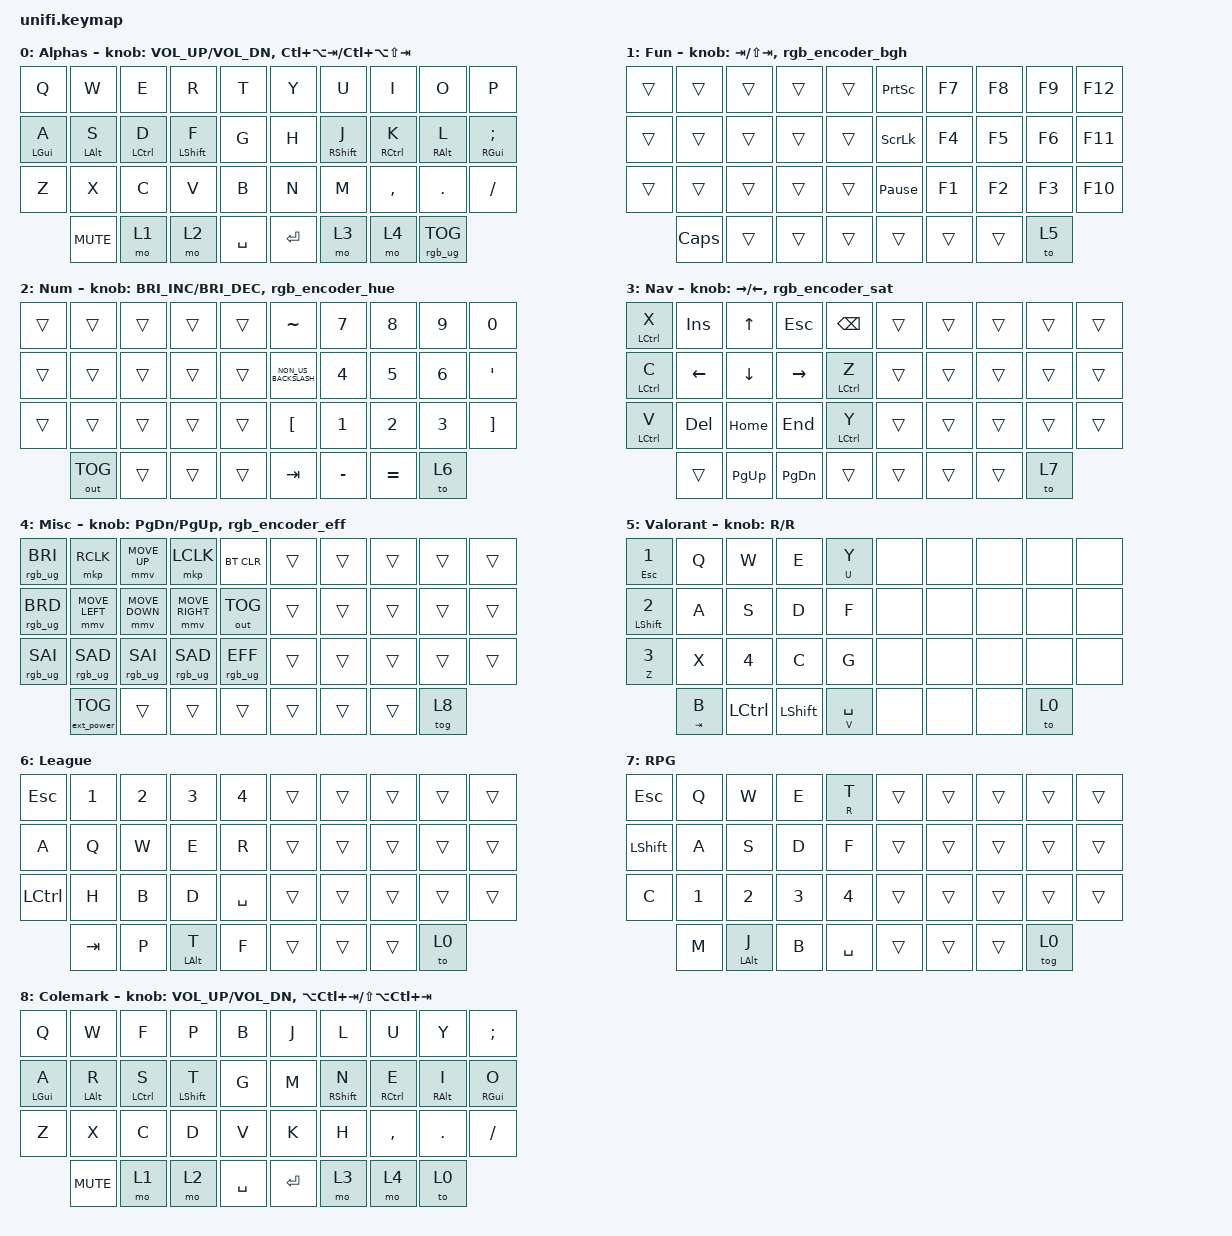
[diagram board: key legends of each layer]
/*
 * Copyright (c) 2020 The ZMK Contributors
 *
 * SPDX-License-Identifier: MIT
 */

#include <behaviors.dtsi>
#include <dt-bindings/zmk/bt.h>
#include <dt-bindings/zmk/ext_power.h>
#include <dt-bindings/zmk/keys.h>
#include <dt-bindings/zmk/mouse.h>
#include <dt-bindings/zmk/outputs.h>
#include <dt-bindings/zmk/rgb.h>

/ {
    behaviors {
        hrm_left: hrm_left {
            compatible = "zmk,behavior-hold-tap";
            bindings = <&kp>, <&kp>;

            #binding-cells = <2>;
            tapping-term-ms = <400>;
            quick-tap-ms = <200>;
            flavor = "tap-preferred";
            hold-trigger-key-positions = <5 6 7 8 9 15 16 17 18 19 25 26 27 28 29 34 35 36 37>;
        };

        rgb_encoder_hue: rgb_encoder_hue {
            compatible = "zmk,behavior-sensor-rotate";
            #sensor-binding-cells = <0>;
            bindings = <&rgb_ug RGB_HUI>, <&rgb_ug RGB_BRD>;
        };

        rgb_encoder_eff: rgb_encoder_eff {
            compatible = "zmk,behavior-sensor-rotate";
            #sensor-binding-cells = <0>;
            bindings = <&rgb_ug RGB_EFF>, <&rgb_ug RGB_EFR>;
        };

        rgb_encoder_bgh: rgb_encoder_bgh {
            compatible = "zmk,behavior-sensor-rotate";
            #sensor-binding-cells = <0>;
            bindings = <&rgb_ug RGB_BRI>, <&rgb_ug RGB_BRD>;
        };

        rgb_encoder_sat: rgb_encoder_sat {
            compatible = "zmk,behavior-sensor-rotate";
            #sensor-binding-cells = <0>;
            bindings = <&rgb_ug RGB_SAI>, <&rgb_ug RGB_SAD>;
        };

        hrm_right: hrm_right {
            compatible = "zmk,behavior-hold-tap";
            bindings = <&kp>, <&kp>;

            #binding-cells = <2>;
            tapping-term-ms = <400>;
            quick-tap-ms = <200>;
            flavor = "tap-preferred";
            hold-trigger-key-positions = <0 1 2 3 4 10 11 12 13 14 20 21 22 23 24 30 31 32 33>;
        };
    };

    keymap {
        compatible = "zmk,keymap";

        Alphas {
            bindings = <
&kp Q             &kp W                 &kp E              &kp R                   &kp T        &kp Y      &kp U                     &kp I               &kp O                   &kp P
&hrm_left LGUI A  &hrm_left LEFT_ALT S  &hrm_left LCTRL D  &hrm_left LEFT_SHIFT F  &kp G        &kp H      &hrm_right RIGHT_SHIFT J  &hrm_right RCTRL K  &hrm_right RIGHT_ALT L  &hrm_right RIGHT_GUI SEMI
&kp Z             &kp X                 &kp C              &kp V                   &kp B        &kp N      &kp M                     &kp COMMA           &kp DOT                 &kp FSLH
                  &kp K_MUTE            &mo 1              &mo 2                   &kp SPACE    &kp ENTER  &mo 3                     &mo 4               &rgb_ug RGB_TOG
            >;

            sensor-bindings =
                <&inc_dec_kp C_VOL_UP C_VOL_DN>,
                <&inc_dec_kp LC(LA(TAB)) LC(LA(LS(TAB)))>;
        };

        Fun {
            bindings = <
&trans  &trans        &trans  &trans  &trans    &kp PRINTSCREEN  &kp F7  &kp F8  &kp F9  &kp F12
&trans  &trans        &trans  &trans  &trans    &kp SCROLLLOCK   &kp F4  &kp F5  &kp F6  &kp F11
&trans  &trans        &trans  &trans  &trans    &kp PAUSE_BREAK  &kp F1  &kp F2  &kp F3  &kp F10
        &kp CAPSLOCK  &trans  &trans  &trans    &trans           &trans  &trans  &to 5
            >;

            sensor-bindings = <&inc_dec_kp TAB LS(TAB)>, <&rgb_encoder_bgh>;
        };

        Num {
            bindings = <
&trans  &trans        &trans  &trans  &trans    &kp TILDE             &kp N7        &kp N8        &kp N9        &kp N0
&trans  &trans        &trans  &trans  &trans    &kp NON_US_BACKSLASH  &kp NUMBER_4  &kp N5        &kp NUMBER_6  &kp SQT
&trans  &trans        &trans  &trans  &trans    &kp LEFT_BRACKET      &kp NUMBER_1  &kp NUMBER_2  &kp NUMBER_3  &kp RIGHT_BRACKET
        &out OUT_TOG  &trans  &trans  &trans    &kp TAB               &kp MINUS     &kp EQUAL     &to 6
            >;

            sensor-bindings =
                <&inc_dec_kp C_BRIGHTNESS_INC C_BRIGHTNESS_DEC>,
                <&rgb_encoder_hue>;
        };

        Nav {
            bindings = <
&mt LCTRL X  &kp INSERT      &kp UP_ARROW    &kp ESCAPE       &kp BACKSPACE    &trans  &trans  &trans  &trans  &trans
&mt LCTRL C  &kp LEFT_ARROW  &kp DOWN_ARROW  &kp RIGHT_ARROW  &mt LCTRL Z      &trans  &trans  &trans  &trans  &trans
&mt LCTRL V  &kp DELETE      &kp HOME        &kp END          &mt LCTRL Y      &trans  &trans  &trans  &trans  &trans
             &trans          &kp PAGE_UP     &kp PAGE_DOWN    &trans           &trans  &trans  &trans  &to 7
            >;

            sensor-bindings =
                <&inc_dec_kp RIGHT_ARROW LEFT_ARROW>,
                <&rgb_encoder_sat>;
        };

        Misc {
            bindings = <
&rgb_ug RGB_BRI  &mkp RCLK          &mmv MOVE_UP     &mkp LCLK        &bt BT_CLR         &trans  &trans  &trans  &trans  &trans
&rgb_ug RGB_BRD  &mmv MOVE_LEFT     &mmv MOVE_DOWN   &mmv MOVE_RIGHT  &out OUT_TOG       &trans  &trans  &trans  &trans  &trans
&rgb_ug RGB_SAI  &rgb_ug RGB_SAD    &rgb_ug RGB_SAI  &rgb_ug RGB_SAD  &rgb_ug RGB_EFF    &trans  &trans  &trans  &trans  &trans
                 &ext_power EP_TOG  &trans           &trans           &trans             &trans  &trans  &trans  &tog 8
            >;

            sensor-bindings =
                <&inc_dec_kp PAGE_DOWN PAGE_UP>,
                <&rgb_encoder_eff>;
        };

        Valorant {
            bindings = <
&mt ESCAPE NUMBER_1      &kp Q      &kp W         &kp E           &mt U Y        &none  &none  &none  &none  &none
&mt LEFT_SHIFT NUMBER_2  &kp A      &kp S         &kp D           &kp F          &none  &none  &none  &none  &none
&mt Z NUMBER_3           &kp X      &kp NUMBER_4  &kp C           &kp G          &none  &none  &none  &none  &none
                         &mt TAB B  &kp LCTRL     &kp LEFT_SHIFT  &mt V SPACE    &none  &none  &none  &to 0
            >;

            sensor-bindings = <&inc_dec_kp R R>;
        };

        League {
            bindings = <
&kp ESCAPE  &kp N1   &kp N2  &kp N3      &kp NUMBER_4    &trans  &trans  &trans  &trans  &trans
&kp A       &kp Q    &kp W   &kp E       &kp R           &trans  &trans  &trans  &trans  &trans
&kp LCTRL   &kp H    &kp B   &kp D       &kp SPACE       &trans  &trans  &trans  &trans  &trans
            &kp TAB  &kp P   &mt LALT T  &kp F           &trans  &trans  &trans  &to 0
            >;
        };

        RPG {
            bindings = <
&kp ESC    &kp Q   &kp W           &kp E   &mt R T      &trans  &trans  &trans  &trans  &trans
&kp LSHFT  &kp A   &kp S           &kp D   &kp F        &trans  &trans  &trans  &trans  &trans
&kp C      &kp N1  &kp N2          &kp N3  &kp N4       &trans  &trans  &trans  &trans  &trans
           &kp M   &mt LEFT_ALT J  &kp B   &kp SPACE    &trans  &trans  &trans  &tog 0
            >;
        };

        Colemark {
            bindings = <
&kp Q             &kp W             &kp F              &kp P              &kp B        &kp J      &kp L                &kp U               &kp Y              &kp SEMI
&hrm_left LGUI A  &hrm_left LALT R  &hrm_left LCTRL S  &hrm_left LSHFT T  &kp G        &kp M      &hrm_right RSHIFT N  &hrm_right RCTRL E  &hrm_right RALT I  &hrm_right RGUI O
&kp Z             &kp X             &kp C              &kp D              &kp V        &kp K      &kp H                &kp COMMA           &kp DOT            &kp FSLH
                  &kp K_MUTE        &mo 1              &mo 2              &kp SPACE    &kp ENTER  &mo 3                &mo 4               &to 0
            >;

            sensor-bindings =
                <&inc_dec_kp C_VOL_UP C_VOL_DN>,
                <&inc_dec_kp LA(LC(TAB)) LS(LA(LC(TAB)))>;
        };
    };
};
